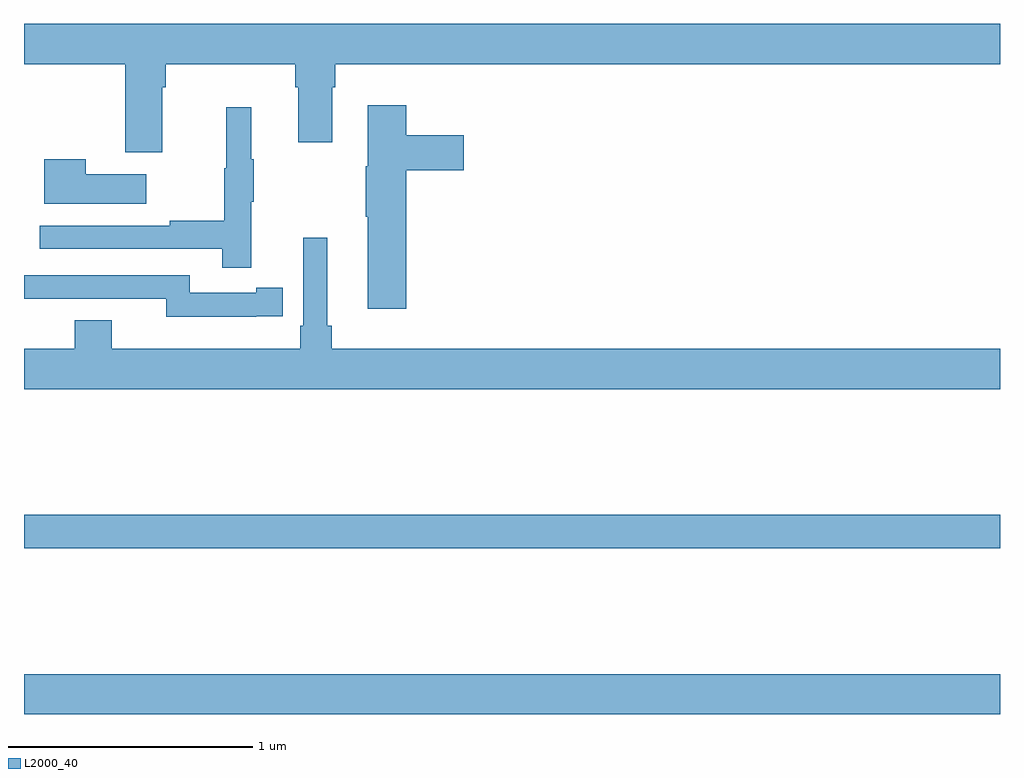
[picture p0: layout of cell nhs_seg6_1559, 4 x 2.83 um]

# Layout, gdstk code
import gdstk
lib = gdstk.Library(unit=1e-6, precision=1e-09)
def R(c, l, rs):  # rectangles x0, y0, x1, y1
    for r in rs: c.add(gdstk.rectangle(r[:2], r[2:], *l))
def P(c, l, *ps):  # polygons
    for p in ps: c.add(gdstk.Polygon(p, *l))
L2000_40 = (2000, 40)

nhs_seg6_1559 = lib.new_cell('nhs_seg6_1559')
R(nhs_seg6_1559, L2000_40, [(205,957.992,209,958.156), (205,958.672,209,958.808)])
P(nhs_seg6_1559, L2000_40, [(205.567,960.56),(205.58,960.56),(205.58,960.656),(206.111,960.656),(206.111,960.56),(206.123,960.56),(206.123,960.336),(206.263,960.336),(206.263,960.56),(206.276,960.56),(206.276,960.656),(209,960.656),(209,960.82),(205,960.82),(205,960.656),(205.415,960.656),(205.415,960.294),(205.567,960.294)],
  [(206.567,960.221),(206.803,960.221),(206.803,960.363),(206.567,960.363),(206.567,960.487),(206.408,960.487),(206.408,960.237),(206.401,960.237),(206.401,960.031),(206.408,960.031),(206.408,959.652),(206.567,959.652)],
  [(205.931,960.091),(205.942,960.091),(205.942,960.265),(205.931,960.265),(205.931,960.478),(205.828,960.478),(205.828,960.228),(205.821,960.228),(205.821,960.014),(205.597,960.014),(205.597,959.994),(205.065,959.994),(205.065,959.898),(205.813,959.898),(205.813,959.82),(205.931,959.82)],
  [(205.501,960.205),(205.253,960.205),(205.253,960.265),(205.082,960.265),(205.082,960.083),(205.501,960.083)],
  [(209,959.488),(206.261,959.488),(206.261,959.584),(206.242,959.584),(206.242,959.944),(206.145,959.944),(206.145,959.584),(206.132,959.584),(206.132,959.488),(205.36,959.488),(205.36,959.605),(205.208,959.605),(205.208,959.488),(205,959.488),(205,959.324),(209,959.324)],
  [(205.952,959.622),(206.06,959.622),(206.06,959.738),(205.952,959.738),(205.952,959.718),(205.68,959.718),(205.68,959.79),(205,959.79),(205,959.693),(205.124,959.693),(205.124,959.694),(205.584,959.694),(205.584,959.621),(205.952,959.621)])

lib.write_gds('nhs_seg6_1559.gds')
